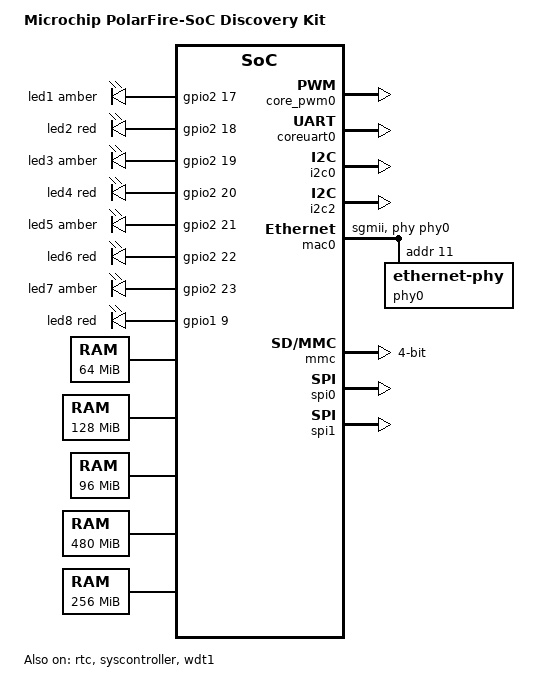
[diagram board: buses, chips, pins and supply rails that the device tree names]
// SPDX-License-Identifier: (GPL-2.0 OR MIT)
/* Copyright (c) 2020-2021 Microchip Technology Inc */

/dts-v1/;

#include "mpfs.dtsi"
#include "mpfs-disco-kit-fabric.dtsi"
#include <dt-bindings/gpio/gpio.h>
#include <dt-bindings/leds/common.h>

/* Clock frequency (in Hz) of the rtcclk */
#define RTCCLK_FREQ		   1000000

/ {
	#address-cells = <2>;
	#size-cells = <2>;
	model = "Microchip PolarFire-SoC Discovery Kit";
	compatible = "microchip,mpfs-disco-kit-reference-rtl-v2507",
		     "microchip,mpfs-disco-kit",
		     "microchip,mpfs";

	soc {
		dma-ranges = <0x14 0x0 0x0 0x80000000 0x0 0x4000000>,
			     <0x14 0x4000000 0x0 0xc4000000 0x0 0x6000000>,
			     <0x14 0xa000000 0x0 0x8a000000 0x0 0x8000000>,
			     <0x14 0x12000000 0x14 0x12000000 0x0 0x10000000>,
			     <0x14 0x22000000 0x10 0x22000000 0x0 0x1e000000>;
	};

	aliases {
		ethernet0 = &mac0;
		serial4 = &mmuart4;
		serial5 = &coreuart0;
	};

	chosen {
		stdout-path = "serial4:115200n8";
	};

	cpus {
		timebase-frequency = <RTCCLK_FREQ>;
	};

	leds {
		compatible = "gpio-leds";

		led-1 {
			gpios = <&gpio2 17 GPIO_ACTIVE_HIGH>;
			color = <LED_COLOR_ID_AMBER>;
			label = "led1";
		};

		led-2 {
			gpios = <&gpio2 18 GPIO_ACTIVE_HIGH>;
			color = <LED_COLOR_ID_RED>;
			label = "led2";
		};

		led-3 {
			gpios = <&gpio2 19 GPIO_ACTIVE_HIGH>;
			color = <LED_COLOR_ID_AMBER>;
			label = "led3";
		};

		led-4 {
			gpios = <&gpio2 20 GPIO_ACTIVE_HIGH>;
			color = <LED_COLOR_ID_RED>;
			label = "led4";
		};

		led-5 {
			gpios = <&gpio2 21 GPIO_ACTIVE_HIGH>;
			color = <LED_COLOR_ID_AMBER>;
			label = "led5";
		};

		led-6 {
			gpios = <&gpio2 22 GPIO_ACTIVE_HIGH>;
			color = <LED_COLOR_ID_RED>;
			label = "led6";
		};

		led-7 {
			gpios = <&gpio2 23 GPIO_ACTIVE_HIGH>;
			color = <LED_COLOR_ID_AMBER>;
			label = "led7";
		};

		led-8 {
			gpios = <&gpio1 9 GPIO_ACTIVE_HIGH>;
			color = <LED_COLOR_ID_RED>;
			label = "led8";
		};
	};

	kernel: memory@80000000 {
		device_type = "memory";
		reg = <0x0 0x80000000 0x0 0x4000000>;
	};

	ddr_cached_low: memory@8a000000 {
		device_type = "memory";
		reg = <0x0 0x8a000000 0x0 0x8000000>;
	};

	ddr_non_cached_low: memory@c4000000 {
		device_type = "memory";
		reg = <0x0 0xc4000000 0x0 0x6000000>;
	};

	ddr_cached_high: memory@1022000000 {
		device_type = "memory";
		reg = <0x10 0x22000000 0x0 0x1e000000>;
	};

	ddr_non_cached_high: memory@1412000000 {
		device_type = "memory";
		reg = <0x14 0x12000000 0x0 0x10000000>;
	};

	reserved-memory {
		#address-cells = <2>;
		#size-cells = <2>;
		ranges;

		hss: hss-buffer@103fc00000 {
			compatible = "shared-dma-pool";
			reg = <0x10 0x3fc00000 0x0 0x200000>;
			no-map;
		};

		dma_non_cached_low: non-cached-low-buffer {
			compatible = "shared-dma-pool";
			size = <0x0 0x4000000>;
			no-map;
			alloc-ranges = <0x0 0xc4000000 0x0 0x4000000>;
		};

		dma_non_cached_high: non-cached-high-buffer {
			compatible = "shared-dma-pool";
			size = <0x0 0x10000000>;
			no-map;
			linux,dma-default;
			alloc-ranges = <0x14 0x12000000 0x0 0x10000000>;
		};

		fabricbuf0ddrc: buffer@88000000 {
			compatible = "shared-dma-pool";
			reg = <0x0 0x88000000 0x0 0x2000000>;
			no-map;
		};

		fabricbuf1ddrnc: buffer@c8000000 {
			compatible = "shared-dma-pool";
			reg = <0x0 0xc8000000 0x0 0x2000000>;
			no-map;
		 };

		fabricbuf2ddrncwcb: buffer@d8000000 {
			compatible = "shared-dma-pool";
			reg = <0x0 0xd8000000 0x0 0x2000000>;
			no-map;
		};
	};

	udmabuf0 {
		compatible = "ikwzm,u-dma-buf";
		device-name = "udmabuf-ddr-c0";
		minor-number = <0>;
		size = <0x0 0x2000000>;
		memory-region = <&fabricbuf0ddrc>;
		sync-mode = <3>;
	};

	udmabuf1 {
		compatible = "ikwzm,u-dma-buf";
		device-name = "udmabuf-ddr-nc0";
		minor-number = <1>;
		size = <0x0 0x2000000>;
		memory-region = <&fabricbuf1ddrnc>;
		sync-mode = <3>;
	};

	udmabuf2 {
		compatible = "ikwzm,u-dma-buf";
		device-name = "udmabuf-ddr-nc-wcb0";
		minor-number = <2>;
		size = <0x0 0x2000000>;
		memory-region = <&fabricbuf2ddrncwcb>;
		sync-mode = <3>;
	};
};

&core_pwm0 {
	status = "okay";
};

&coreuart0 {
	status = "okay";
};

&fpgadma {
	status = "okay";
};

&fpgalsram {
	status = "okay";
};

&gpio1 {
	status = "okay";
};

&gpio2 {
	status = "okay";
};

&i2c0 {
	status = "okay";
};

&i2c2 {
	status = "okay";
};

&mac0 {
	dma-noncoherent;
	status = "okay";
	phy-mode = "sgmii";
	phy-handle = <&phy0>;

	phy0: ethernet-phy@b {
		reg = <0xb>;
	};
};

&mbox {
	status = "okay";
};

&mmc {
	dma-noncoherent;
	bus-width = <4>;
	disable-wp;
	cap-sd-highspeed;
	cap-mmc-highspeed;
	sd-uhs-sdr12;
	sd-uhs-sdr25;
	sd-uhs-sdr50;
	sd-uhs-sdr104;
	no-1-8-v;
	status = "okay";
};

&mmuart1 {
	status = "okay";
};

&mmuart4 {
	status = "okay";
};

&refclk {
	clock-frequency = <125000000>;
};

&refclk_ccc {
	clock-frequency = <50000000>;
};

&rtc {
	status = "okay";
};

&spi0 {
	status = "okay";
};

&spi1 {
	status = "okay";
};

&syscontroller {
	status = "okay";
};

&wdt1 {
	status = "okay";
};
